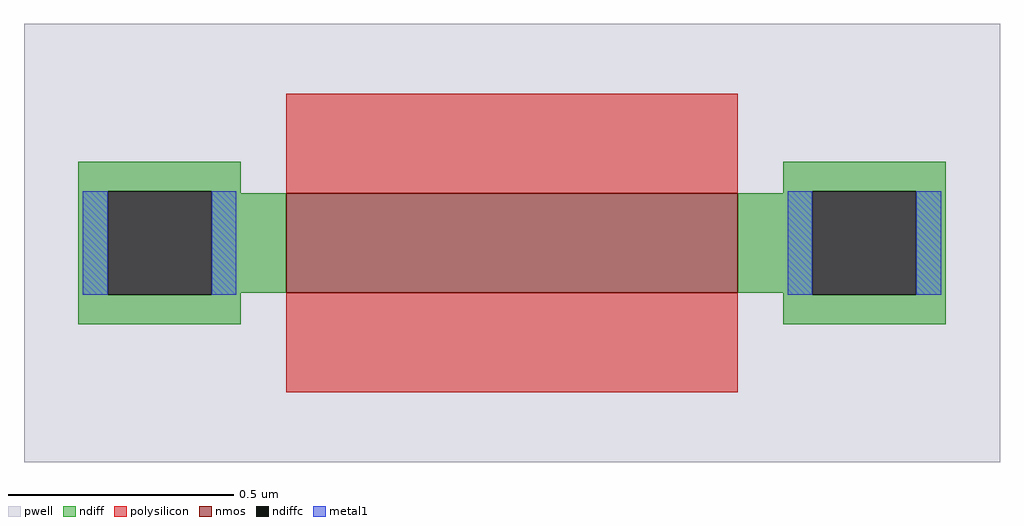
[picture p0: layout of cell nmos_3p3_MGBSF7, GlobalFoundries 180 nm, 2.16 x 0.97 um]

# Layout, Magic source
magic
tech gf180mcuC
magscale 1 10
<< pwell >>
rect -216 -97 216 97
<< nmos >>
rect -100 -22 100 22
<< ndiff >>
rect -192 23 -120 36
rect -192 -23 -179 23
rect -133 22 -120 23
rect 120 23 192 36
rect 120 22 133 23
rect -133 -22 -100 22
rect 100 -22 133 22
rect -133 -23 -120 -22
rect -192 -36 -120 -23
rect 120 -23 133 -22
rect 179 -23 192 23
rect 120 -36 192 -23
<< ndiffc >>
rect -179 -23 -133 23
rect 133 -23 179 23
<< polysilicon >>
rect -100 22 100 66
rect -100 -66 100 -22
<< metal1 >>
rect -190 -23 -179 23
rect -133 -23 -122 23
rect 122 -23 133 23
rect 179 -23 190 23
<< properties >>
string gencell nmos_3p3
string library gf180mcu
string parameters w 0.220 l 1 m 1 nf 1 diffcov 100 polycov 100 guard 0 glc 0 grc 0 gtc 0 gbc 0 tbcov 100 rlcov 100 topc 0 botc 0 poverlap 0 doverlap 1 lmin 0.28 wmin 0.22 full_metal 0 compatible {nmos_3p3 nmos_6p0 nmos_6p0_nat}
<< end >>
